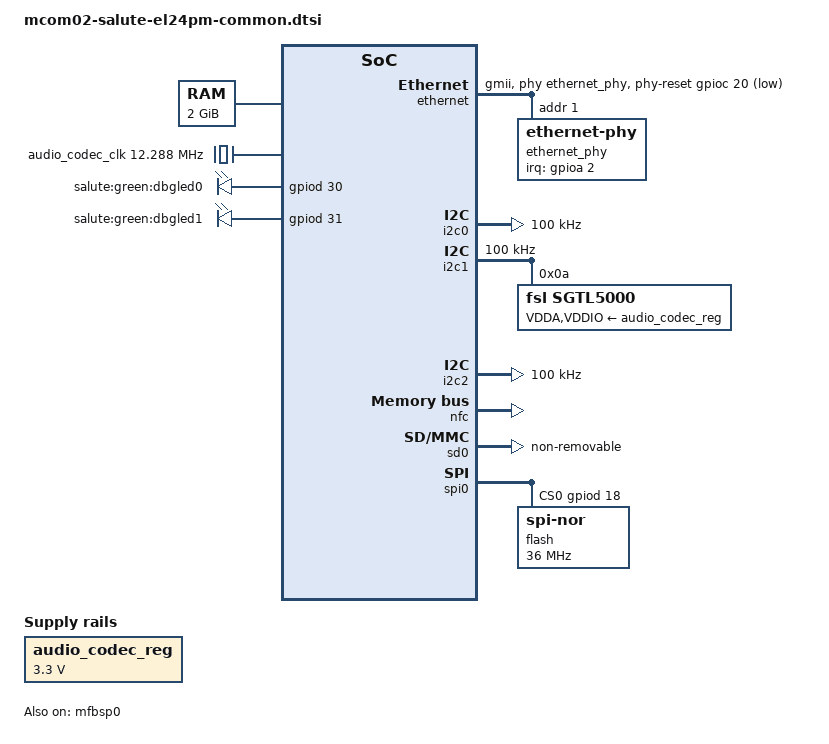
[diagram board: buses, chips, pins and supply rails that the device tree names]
/*
 * Copyright 2017 RnD Center "ELVEES", JSC
 *
 * This program is free software; you can redistribute it and/or modify
 * it under the terms of the GNU General Public License version 2 as
 * published by the Free Software Foundation.
 */

#include <dt-bindings/gpio/gpio.h>

#include "mcom02.dtsi"

/ {
	memory {
		device_type = "memory";
		reg = <0x40000000 0x40000000>,
		      <0xa0000000 0x40000000>;
	};

	/*
	 * VPU decoder must use memory in DDR0 and DDR1 in order to implement
	 * workaround #1 to prevent DDR-VDMA deadlock (issue rf#1382).
	 */
	reserved-memory {
		#address-cells = <1>;
		#size-cells = <1>;
		ranges;

		vpu_ddr0_reserved: vpu_ddr0@0x7f800000 {
			no-map;
			reg = <0x7f800000 0x800000>;
		};

		vpu_ddr1_reserved: vpu_ddr1@0xdf800000 {
			no-map;
			reg = <0xdf800000 0x800000>;
		};
	};

	clocks {
		audio_codec_clk: audio_codec_clk {
			#clock-cells = <0>;
			compatible = "fixed-clock";
			clock-frequency = <12288000>;
		};
	};

	leds {
		compatible = "gpio-leds";

		dbgled0 {
			label = "salute:green:dbgled0";
			gpios = <&gpiod 30 GPIO_ACTIVE_HIGH>;
			linux,default-trigger = "heartbeat";
		};

		dbgled1 {
			label = "salute:green:dbgled1";
			gpios = <&gpiod 31 GPIO_ACTIVE_HIGH>;
			linux,default-trigger = "mmc0";
		};
	};

	regulators {
		#address-cells = <1>;
		#size-cells = <0>;
		compatible = "simple-bus";

		audio_codec_reg: regulator@0 {
			compatible = "regulator-fixed";
			reg = <0x0>;
			regulator-name = "audio-codec";
			regulator-min-microvolt = <3300000>;
			regulator-max-microvolt = <3300000>;
			regulator-always-on;
		};
	};

	sound: sound {
		compatible = "simple-audio-card";
		simple-audio-card,name = "Salute-EL24PM";
		simple-audio-card,format = "i2s";
		simple-audio-card,bitclock-master = <&dailink0_master>;
		simple-audio-card,frame-master = <&dailink0_master>;
		status = "disabled";

		simple-audio-card,cpu {
			sound-dai = <&mfbsp0>;
		};

		dailink0_master: simple-audio-card,codec {
			sound-dai = <&sgtl5000>;
		};
	};
};

&cpllclk {
	clock-mult = <21>;
};

&ethernet {
	#address-cells = <1>;
	#size-cells = <0>;
	phy-mode = "gmii";
	phy-handle = <&ethernet_phy>;
	phy-reset-gpios = <&gpioc 20 GPIO_ACTIVE_LOW>;
	txclk-125en-gpios = <&gpioa 3 GPIO_ACTIVE_HIGH>;

	ethernet_phy: ethernet-phy@1 {
		reg = <0x1>;
		interrupt-parent = <&gpioa>;
		interrupts = <2 IRQ_TYPE_LEVEL_LOW>;
	};
};

&i2c0 {
	status = "okay";
	clock-frequency = <100000>;
};

&i2c1 {
	status = "okay";
	clock-frequency = <100000>;

	sgtl5000: audio-codec@0a {
		#sound-dai-cells = <0>;
		compatible = "fsl,sgtl5000";
		reg = <0x0a>;
		clocks = <&audio_codec_clk>;
		VDDA-supply = <&audio_codec_reg>;
		VDDIO-supply = <&audio_codec_reg>;
	};
};

&i2c2 {
	status = "okay";
	clock-frequency = <100000>;
	/* For correct work of Si514 generator */
	i2c-sda-hold-time-ns = <700>;
};

&mfbsp0 {
	status = "okay";
};

&nfc {
	status = "okay";
};

&sd0 {
	/*
	 * Connected to eMMC
	 *
	 * BUG: eMMC supports DDR only in Linux, not in U-Boot
	 */
	status = "okay";
	non-removable;
	mmc-ddr-3_3v;
};

&spi0 {
	status = "okay";
	num-cs = <1>;
	/* Third argument of "cs-gpios" property is set to 0,
	 * because it is ignored by the SPI driver. */
	cs-gpios = <&gpiod 18 0>;

	flash: flash@0 {
		#address-cells = <1>;
		#size-cells = <1>;
		compatible = "jedec,spi-nor", "spi-flash";
		reg = <0x0>;
		/* The data transfer is not stable at a higher frequency. */
		spi-max-frequency = <36000000>;
		m25p,fast-read;
		u-boot,dm-pre-reloc;
	};
};

&vpu {
	mem0 {
		memory-region = <&vpu_ddr0_reserved>;
	};

	mem1 {
		memory-region = <&vpu_ddr1_reserved>;
	};
};
